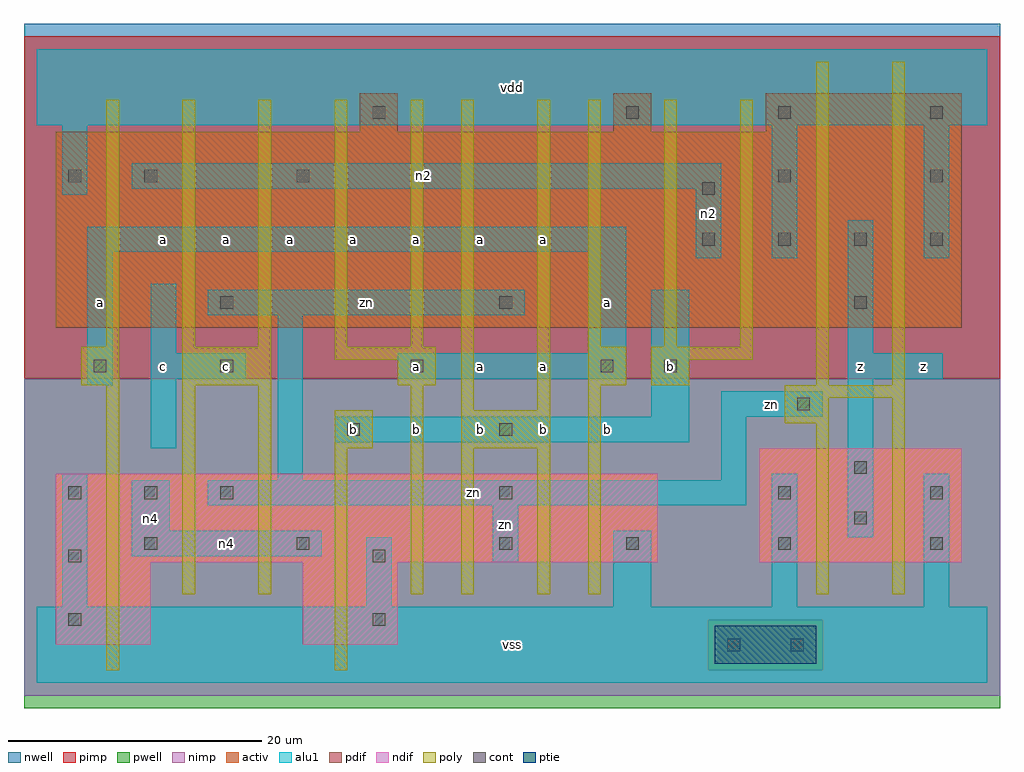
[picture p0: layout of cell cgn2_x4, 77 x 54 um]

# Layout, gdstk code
import gdstk
lib = gdstk.Library(unit=1e-6, precision=1e-09)
def R(c, l, rs):  # rectangles x0, y0, x1, y1
    for r in rs: c.add(gdstk.rectangle(r[:2], r[2:], *l))
def A(c, l, x, y, w, h, nx, ny, dx, dy):  # array of equal rectangles
    R(c, l, [(x+i*dx, y+j*dy, x+i*dx+w, y+j*dy+h) for i in range(nx) for j in range(ny)])
ndif = (3, 0)
pdif = (4, 0)
ptie = (6, 0)
cont = (25, 0)
pwell = (41, 0)
nwell = (42, 0)
activ = (43, 0)
pimp = (44, 0)
nimp = (45, 0)
poly = (46, 0)
alu1 = (49, 0)

cgn2_x4 = lib.new_cell('cgn2_x4')
R(cgn2_x4, ndif, [(1.5,3,9,9.5), (21,3,28.5,9.5), (1.5,9.5,49,16.5), (57,9.5,73,18.5)])
R(cgn2_x4, pdif, [(1.5,28,73,43.5), (25.5,43.5,28.5,46.5), (45.5,43.5,48.5,46.5), (57.5,43.5,73,46.5)])
R(cgn2_x4, ptie, [(53.5,1.5,61.5,4.5)])
A(cgn2_x4, cont, 46.5, 10.5, 1, 1, 3, 2, 12, 34)
A(cgn2_x4, cont, 2.5, 14.5, 1, 1, 3, 1, 6, 0)
A(cgn2_x4, cont, 14.5, 24.5, 1, 1, 3, 1, 15, 0)
A(cgn2_x4, cont, 52.5, 34.5, 1, 1, 4, 1, 6, 0)
R(cgn2_x4, cont, [(54.5,2.5,55.5,3.5), (59.5,2.5,60.5,3.5), (2.5,4.5,3.5,5.5), (26.5,4.5,27.5,5.5), (2.5,9.5,3.5,10.5), (26.5,9.5,27.5,10.5), (8.5,10.5,9.5,11.5), (20.5,10.5,21.5,11.5), (36.5,10.5,37.5,11.5), (64.5,12.5,65.5,13.5), (36.5,14.5,37.5,15.5), (58.5,14.5,59.5,15.5), (70.5,14.5,71.5,15.5), (64.5,16.5,65.5,17.5), (24.5,19.5,25.5,20.5), (36.5,19.5,37.5,20.5), (60,21.5,61,22.5), (4.5,24.5,5.5,25.5), (49.5,24.5,50.5,25.5), (14.5,29.5,15.5,30.5), (36.5,29.5,37.5,30.5), (64.5,29.5,65.5,30.5), (52.5,38.5,53.5,39.5), (2.5,39.5,3.5,40.5), (8.5,39.5,9.5,40.5), (20.5,39.5,21.5,40.5), (58.5,39.5,59.5,40.5), (70.5,39.5,71.5,40.5), (26.5,44.5,27.5,45.5)])
R(cgn2_x4, pwell, [(-1,-2,76,24)])
R(cgn2_x4, nwell, [(-1,24,76,52)])
R(cgn2_x4, activ, [(53.5,1.5,61.5,4.5), (1.5,3,9,9.5), (21,3,28.5,9.5), (1.5,9.5,49,16.5), (57,9.5,73,18.5), (1.5,28,73,43.5), (25.5,43.5,28.5,46.5), (45.5,43.5,48.5,46.5), (57.5,43.5,73,46.5)])
R(cgn2_x4, pimp, [(53,1,62,5), (-1,24,76,51)])
R(cgn2_x4, nimp, [(-1,-1,76,1), (-1,1,53,5), (62,1,76,5), (-1,5,76,24)])
A(cgn2_x4, poly, 5.5, 26.5, 1, 19.5, 5, 1, 6, 0)
A(cgn2_x4, poly, 43.5, 26.5, 1, 19.5, 3, 1, 6, 0)
R(cgn2_x4, poly, [(5.5,1,6.5,23.5), (23.5,1,24.5,18.5), (11.5,7,12.5,23.5), (17.5,7,18.5,23.5), (29.5,7,30.5,23.5), (33.5,7,34.5,18.5), (39.5,7,40.5,18.5), (43.5,7,44.5,23.5), (61.5,7,62.5,20.5), (67.5,7,68.5,22.5), (23.5,18.5,26.5,21.5), (33.5,18.5,40.5,21.5), (59,20.5,62.5,22.5), (33.5,21.5,34.5,46), (39.5,21.5,40.5,46), (59,22.5,68.5,23.5), (3.5,23.5,6.5,26.5), (11.5,23.5,18.5,26.5), (28.5,23.5,31.5,25.5), (43.5,23.5,46.5,26.5), (48.5,23.5,51.5,25.5), (61.5,23.5,62.5,49), (67.5,23.5,68.5,49), (23.5,25.5,31.5,26.5), (48.5,25.5,56.5,26.5)])
R(cgn2_x4, alu1, [(0,0,75,6), (2,6,4,16.5), (26,6,28,11.5), (45.5,6,48.5,12), (58,6,60,16.5), (70,6,72,16.5), (36,9.5,38,14), (7.5,10,22.5,12), (64,11.5,66,24), (7.5,12,10.5,16), (13.5,14,56,16), (19,16,21,29), (54,16,56,21), (9,18.5,11,24), (23.5,19,51.5,21), (48.5,21,51.5,31), (54,21,62,23), (4,23.5,6,34), (9,24,16.5,26), (28.5,24,46.5,26), (64,24,71.5,26), (9,26,11,31.5), (43.5,26,46.5,34), (64,26,66,36.5), (13.5,29,38.5,31), (52,33.5,54,39), (58,33.5,60,44), (70,33.5,72,44), (4,34,46.5,36), (2,38.5,4,44), (7.5,39,54,41), (0,44,75,50)])
cgn2_x4.add(gdstk.Label('n4', (9,13), layer=49, texttype=0))
cgn2_x4.add(gdstk.Label('c', (10,25), layer=49, texttype=0))
cgn2_x4.add(gdstk.Label('a', (5,30), layer=49, texttype=0))
cgn2_x4.add(gdstk.Label('a', (10,35), layer=49, texttype=0))
cgn2_x4.add(gdstk.Label('n4', (15,11), layer=49, texttype=0))
cgn2_x4.add(gdstk.Label('b', (25,20), layer=49, texttype=0))
cgn2_x4.add(gdstk.Label('c', (15,25), layer=49, texttype=0))
cgn2_x4.add(gdstk.Label('a', (15,35), layer=49, texttype=0))
cgn2_x4.add(gdstk.Label('a', (20,35), layer=49, texttype=0))
cgn2_x4.add(gdstk.Label('a', (25,35), layer=49, texttype=0))
cgn2_x4.add(gdstk.Label('vss', (37.5,3), layer=49, texttype=0))
cgn2_x4.add(gdstk.Label('zn', (37,12.5), layer=49, texttype=0))
cgn2_x4.add(gdstk.Label('b', (35,20), layer=49, texttype=0))
cgn2_x4.add(gdstk.Label('b', (40,20), layer=49, texttype=0))
cgn2_x4.add(gdstk.Label('b', (30,20), layer=49, texttype=0))
cgn2_x4.add(gdstk.Label('a', (30,25), layer=49, texttype=0))
cgn2_x4.add(gdstk.Label('a', (35,25), layer=49, texttype=0))
cgn2_x4.add(gdstk.Label('a', (40,25), layer=49, texttype=0))
cgn2_x4.add(gdstk.Label('zn', (26,30), layer=49, texttype=0))
cgn2_x4.add(gdstk.Label('a', (30,35), layer=49, texttype=0))
cgn2_x4.add(gdstk.Label('a', (35,35), layer=49, texttype=0))
cgn2_x4.add(gdstk.Label('a', (40,35), layer=49, texttype=0))
cgn2_x4.add(gdstk.Label('vdd', (37.5,47), layer=49, texttype=0))
cgn2_x4.add(gdstk.Label('zn', (34.5,15), layer=49, texttype=0))
cgn2_x4.add(gdstk.Label('b', (45,20), layer=49, texttype=0))
cgn2_x4.add(gdstk.Label('b', (50,25), layer=49, texttype=0))
cgn2_x4.add(gdstk.Label('a', (45,30), layer=49, texttype=0))
cgn2_x4.add(gdstk.Label('n2', (53,37), layer=49, texttype=0))
cgn2_x4.add(gdstk.Label('n2', (30.5,40), layer=49, texttype=0))
cgn2_x4.add(gdstk.Label('zn', (58,22), layer=49, texttype=0))
cgn2_x4.add(gdstk.Label('z', (65,25), layer=49, texttype=0))
cgn2_x4.add(gdstk.Label('z', (70,25), layer=49, texttype=0))

lib.write_gds('cgn2_x4.gds')
